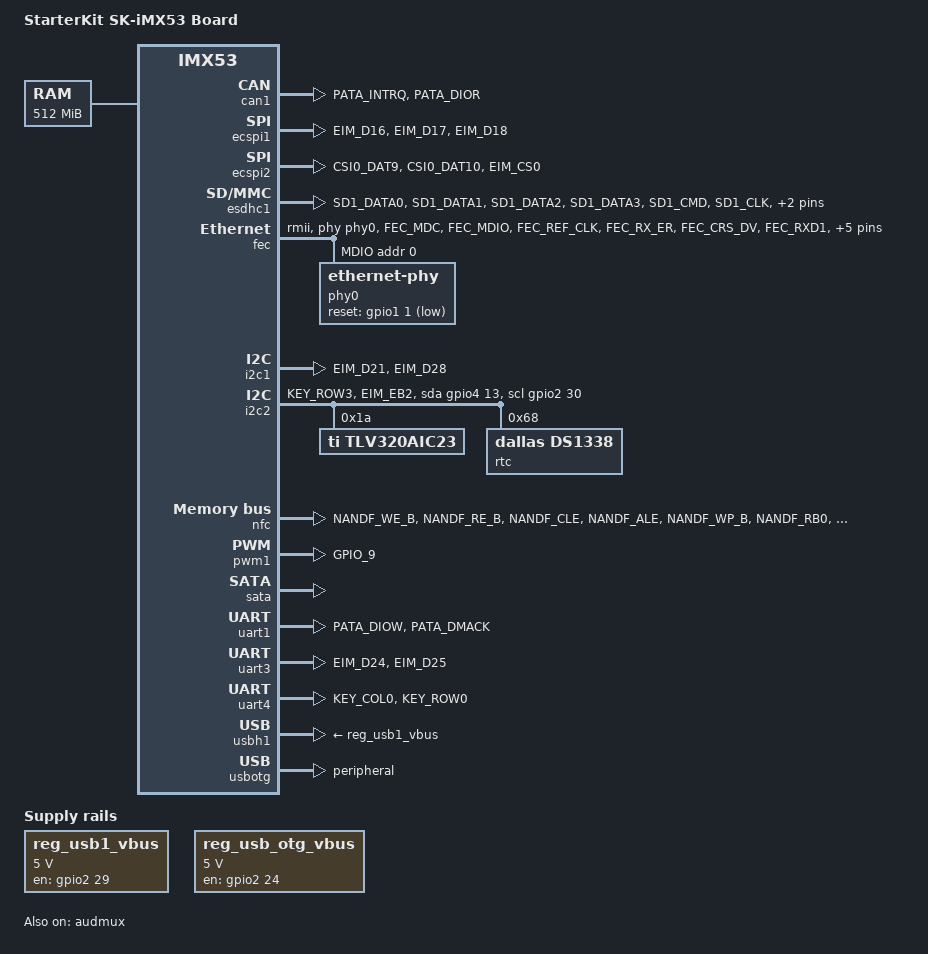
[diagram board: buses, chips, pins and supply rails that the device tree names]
// SPDX-License-Identifier: GPL-2.0+
//
// Copyright 2023 Linaro Ltd.

/dts-v1/;

#include "imx53.dtsi"

/ {
	model = "StarterKit SK-iMX53 Board";
	compatible = "starterkit,sk-imx53", "fsl,imx53";

	aliases {
		/*
		 * iMX RTC is not battery powered on this board.
		 * Use the i2c RTC as rtc0.
		 */
		rtc0 = &rtc;
		rtc1 = &srtc;
	};

	chosen {
		stdout-path = &uart1;
	};

	memory@70000000 {
		device_type = "memory";
		/* v2 had only 256 MB, v3 has 512 MB */
		reg = <0x70000000 0x20000000>;
	};

	reg_usb1_vbus: regulator-usb-vbus {
		compatible = "regulator-fixed";
		regulator-name = "usb_vbus";
		regulator-min-microvolt = <5000000>;
		regulator-max-microvolt = <5000000>;
		gpio = <&gpio2 29 GPIO_ACTIVE_HIGH>;
		enable-active-high;
	};

	reg_usb_otg_vbus: regulator-otg-vbus {
		compatible = "regulator-fixed";
		regulator-name = "usb_vbus";
		regulator-min-microvolt = <5000000>;
		regulator-max-microvolt = <5000000>;
		gpio = <&gpio2 24 GPIO_ACTIVE_HIGH>;
		enable-active-high;
	};
};

&audmux {
	pinctrl-names = "default";
	pinctrl-0 = <&pinctrl_audmux>;
	status = "okay";
};

&can1 {
	pinctrl-names = "default";
	pinctrl-0 = <&pinctrl_can1>;
	status = "okay";
};

&ecspi1 {
	pinctrl-names = "default";
	pinctrl-0 = <&pinctrl_ecspi1>;
	cs-gpios = <&gpio3 23 GPIO_ACTIVE_LOW>;
	status = "okay";
};

&ecspi2 {
	pinctrl-names = "default";
	pinctrl-0 = <&pinctrl_ecspi2>;
	cs-gpios = <&gpio2 27 GPIO_ACTIVE_LOW>;
	status = "okay";
};

&esdhc1 {
	cd-gpios = <&gpio3 14 GPIO_ACTIVE_LOW>;
	fsl,wp-controller;
	pinctrl-names = "default";
	pinctrl-0 = <&pinctrl_esdhc1>;
	status = "okay";
};

&fec {
	pinctrl-names = "default";
	pinctrl-0 = <&pinctrl_fec>;
	phy-mode = "rmii";
	phy-handle = <&phy0>;
	mac-address = [000000000000]; /* placeholder; will be overwritten by bootloader */
	status = "okay";

	mdio {
		#address-cells = <1>;
		#size-cells = <0>;

		phy0: ethernet-phy@0 {
			reg = <0>;
			reset-gpios = <&gpio1 1 GPIO_ACTIVE_LOW>;
		};
	};
};

&i2c1 {
	pinctrl-names = "default";
	pinctrl-0 = <&pinctrl_i2c1>;
	status = "okay";
};

&i2c2 {
	pinctrl-names = "default", "gpio";
	pinctrl-0 = <&pinctrl_i2c2>;
	pinctrl-1 = <&pinctrl_i2c2_gpio>;
	sda-gpios = <&gpio4 13 GPIO_ACTIVE_HIGH>;
	scl-gpios = <&gpio2 30 GPIO_ACTIVE_HIGH>;
	status = "okay";

	tlv320aic23: codec@1a {
		compatible = "ti,tlv320aic23";
		reg = <0x1a>;
		pinctrl-names = "default";
		pinctrl-0 = <&pinctrl_codec>;
		#sound-dai-cells = <0>;
	};

	rtc: rtc@68 {
		compatible = "dallas,ds1338";
		reg = <0x68>;
	};
};

&iomuxc {
	pinctrl_audmux: audmuxgrp {
		fsl,pins = <
			MX53_PAD_SD2_DATA3__AUDMUX_AUD4_TXC	0x1e4
			MX53_PAD_SD2_DATA2__AUDMUX_AUD4_TXD	0x1e4
			MX53_PAD_SD2_DATA1__AUDMUX_AUD4_TXFS	0x1e4
			MX53_PAD_SD2_DATA0__AUDMUX_AUD4_RXD	0x1e4
		>;
	};

	pinctrl_can1: can1grp {
		fsl,pins = <
			MX53_PAD_PATA_INTRQ__CAN1_TXCAN		0x1e4
			MX53_PAD_PATA_DIOR__CAN1_RXCAN		0x1e4
		>;
	};

	pinctrl_codec: codecgrp {
		fsl,pins = <
			MX53_PAD_GPIO_0__CCM_SSI_EXT1_CLK	0x1c4
		>;
	};

	pinctrl_ecspi1: ecspi1grp {
		fsl,pins = <
			MX53_PAD_EIM_D16__ECSPI1_SCLK		0x1e4
			MX53_PAD_EIM_D17__ECSPI1_MISO		0x1e4
			MX53_PAD_EIM_D18__ECSPI1_MOSI		0x1e4
		>;
	};

	pinctrl_ecspi2: ecspi2grp {
		fsl,pins = <
			MX53_PAD_CSI0_DAT9__ECSPI2_MOSI		0x1e4
			MX53_PAD_CSI0_DAT10__ECSPI2_MISO	0x1e4
			MX53_PAD_EIM_CS0__ECSPI2_SCLK		0x1e4
		>;
	};

	pinctrl_esdhc1: esdhc1grp {
		fsl,pins = <
			MX53_PAD_SD1_DATA0__ESDHC1_DAT0		0x1d5
			MX53_PAD_SD1_DATA1__ESDHC1_DAT1		0x1d5
			MX53_PAD_SD1_DATA2__ESDHC1_DAT2		0x1d5
			MX53_PAD_SD1_DATA3__ESDHC1_DAT3		0x1d5
			MX53_PAD_SD1_CMD__ESDHC1_CMD		0x1d5
			MX53_PAD_SD1_CLK__ESDHC1_CLK		0x1d5
			MX53_PAD_EIM_DA14__GPIO3_14		0x1f0
		>;
	};

	pinctrl_fec: fecgrp {
		fsl,pins = <
			MX53_PAD_FEC_MDC__FEC_MDC		0x1e4
			MX53_PAD_FEC_MDIO__FEC_MDIO		0x1e4
			MX53_PAD_FEC_REF_CLK__FEC_TX_CLK	0x1e4
			MX53_PAD_FEC_RX_ER__FEC_RX_ER		0x1e4
			MX53_PAD_FEC_CRS_DV__FEC_RX_DV		0x1e4
			MX53_PAD_FEC_RXD1__FEC_RDATA_1		0x1e4
			MX53_PAD_FEC_RXD0__FEC_RDATA_0		0x1e4
			MX53_PAD_FEC_TX_EN__FEC_TX_EN		0x1c4
			MX53_PAD_FEC_TXD1__FEC_TDATA_1		0x1e4
			MX53_PAD_FEC_TXD0__FEC_TDATA_0		0x1e4
			MX53_PAD_GPIO_1__GPIO1_1		0x1c4
		>;
	};

	pinctrl_i2c1: i2c1grp {
		fsl,pins = <
			MX53_PAD_EIM_D21__I2C1_SCL		0x400001e4
			MX53_PAD_EIM_D28__I2C1_SDA		0x400001e4
		>;
	};

	pinctrl_i2c2: i2c2grp {
		fsl,pins = <
			MX53_PAD_KEY_ROW3__I2C2_SDA             0x400001e4
			MX53_PAD_EIM_EB2__I2C2_SCL		0x400001e4
		>;
	};

	pinctrl_i2c2_gpio: i2c2gpiogrp {
		fsl,pins = <
			MX53_PAD_KEY_ROW3__GPIO4_13		0x1e4
			MX53_PAD_EIM_EB2__GPIO2_30		0x1e4
		>;
	};

	pinctrl_nand: nandgrp {
		fsl,pins = <
			MX53_PAD_NANDF_WE_B__EMI_NANDF_WE_B	0x4
			MX53_PAD_NANDF_RE_B__EMI_NANDF_RE_B	0x4
			MX53_PAD_NANDF_CLE__EMI_NANDF_CLE	0x4
			MX53_PAD_NANDF_ALE__EMI_NANDF_ALE	0x4
			MX53_PAD_NANDF_WP_B__EMI_NANDF_WP_B	0xe0
			MX53_PAD_NANDF_RB0__EMI_NANDF_RB_0	0xe0
			MX53_PAD_NANDF_CS0__EMI_NANDF_CS_0	0x4
			MX53_PAD_NANDF_CS1__EMI_NANDF_CS_1	0x4
			MX53_PAD_NANDF_CS2__EMI_NANDF_CS_2	0x4
			MX53_PAD_NANDF_CS3__EMI_NANDF_CS_3	0x4
			MX53_PAD_EIM_DA0__EMI_NAND_WEIM_DA_0	0xa4
			MX53_PAD_EIM_DA1__EMI_NAND_WEIM_DA_1	0xa4
			MX53_PAD_EIM_DA2__EMI_NAND_WEIM_DA_2	0xa4
			MX53_PAD_EIM_DA3__EMI_NAND_WEIM_DA_3	0xa4
			MX53_PAD_EIM_DA4__EMI_NAND_WEIM_DA_4	0xa4
			MX53_PAD_EIM_DA5__EMI_NAND_WEIM_DA_5	0xa4
			MX53_PAD_EIM_DA6__EMI_NAND_WEIM_DA_6	0xa4
			MX53_PAD_EIM_DA7__EMI_NAND_WEIM_DA_7	0xa4
		>;
	};

	pinctrl_pwm1: pwm1grp {
		fsl,pins = <
			MX53_PAD_GPIO_9__PWM1_PWMO		0x5
		>;
	};

	pinctrl_uart1: uart1grp {
		fsl,pins = <
			MX53_PAD_PATA_DIOW__UART1_TXD_MUX	0x1e4
			MX53_PAD_PATA_DMACK__UART1_RXD_MUX	0x1e4
		>;
	};

	pinctrl_uart3: uart3grp {
		fsl,pins = <
			MX53_PAD_EIM_D24__UART3_TXD_MUX		0x1e4
			MX53_PAD_EIM_D25__UART3_RXD_MUX		0x1e4
		>;
	};

	pinctrl_uart4: uart4grp {
		fsl,pins = <
			MX53_PAD_KEY_COL0__UART4_TXD_MUX	0x1e4
			MX53_PAD_KEY_ROW0__UART4_RXD_MUX	0x1e4
		>;
	};
};

&nfc {
	pinctrl-names = "default";
	pinctrl-0 = <&pinctrl_nand>;
	nand-bus-width = <8>;
	status = "okay";

	partitions {
		compatible = "fixed-partitions";
		#address-cells = <1>;
		#size-cells = <1>;

		partition@0 {
			label = "boot";
			reg = <0x00000000 0x00100000>;
			read-only;
		};

		partition@100000 {
			label = "u-boot";
			reg = <0x00100000 0x00100000>;
			read-only;
		};

		partition@200000 {
			label = "u-boot-env";
			reg = <0x00200000 0x00100000>;
			read-only;
		};

		partition@1000000 {
			label = "kernel-safe";
			reg = <0x01000000 0x00a00000>;
			read-only;
		};

		partition@1a00000 {
			label = "kernel";
			reg = <0x01a00000 0x005e0000>;
		};

		partition@2000000 {
			label = "ubifs";
			reg = <0x02000000 0x0e000000>;
		};
	};
};

&pwm1 {
	pinctrl-names = "default";
	pinctrl-0 = <&pinctrl_pwm1>;
	status = "okay";
};

&sata {
	status = "okay";
};

&uart1 {
	pinctrl-names = "default";
	pinctrl-0 = <&pinctrl_uart1>;
	status = "okay";
};

&uart3 {
	pinctrl-names = "default";
	pinctrl-0 = <&pinctrl_uart3>;
	status = "okay";
};

&uart4 {
	pinctrl-names = "default";
	pinctrl-0 = <&pinctrl_uart4>;
	status = "okay";
};

&usbh1 {
	vbus-supply = <&reg_usb1_vbus>;
	phy_type = "utmi";
	disable-over-current;
	status = "okay";
};

&usbotg {
	dr_mode = "peripheral";
	disable-over-current;
	status = "okay";
};
